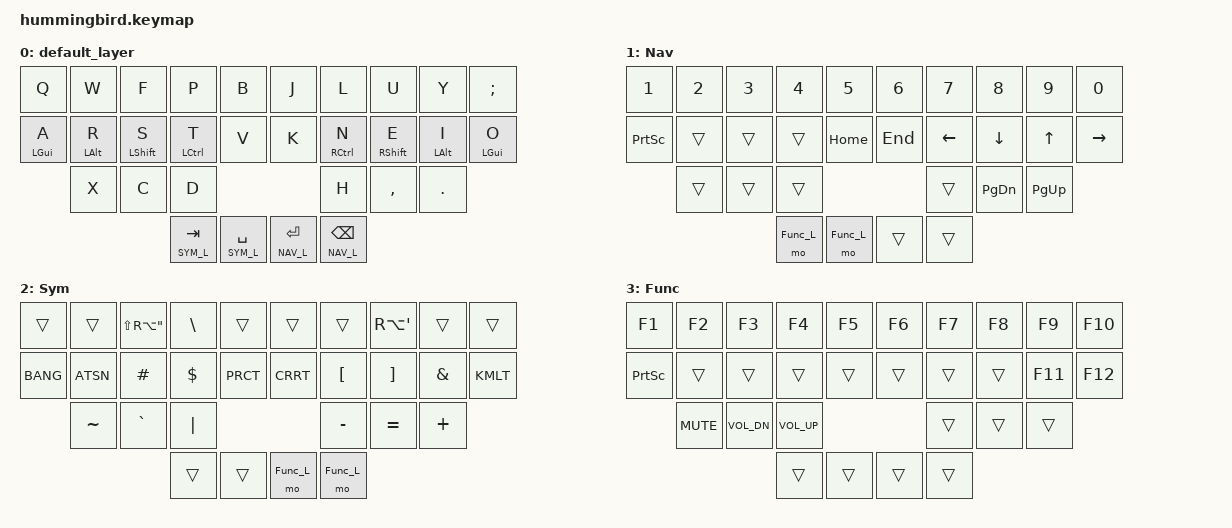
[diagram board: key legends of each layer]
/*
 * Copyright (c) 2022 The ZMK Contributors
 *
 * SPDX-License-Identifier: MIT
 */

#include <behaviors.dtsi>
#include <dt-bindings/zmk/keys.h>

#define DEF_L 0
#define NAV_L 1
#define SYM_L 2
#define Func_L 3

// Using layer taps on thumbs, having quick tap as well helps w/ repeating space/backspace
&lt { quick_tap_ms = <200>; };

/ {
    behaviors {
        hm: homerow_mods {
            compatible = "zmk,behavior-hold-tap";
            #binding-cells = <2>;
            tapping_term_ms = <225>;
            flavor = "tap-preferred";
            bindings = <&kp>, <&kp>;
        };
    };

    macros {

        ZMK_MACRO(arrow,
            wait-ms = <30>;
            tap-ms = <40>;
            bindings = <&kp MINUS &kp LS(DOT)>;
        )

        ZMK_MACRO(eql_arrow,
            wait-ms = <30>;
            tap-ms = <40>;
            bindings = <&kp EQL &kp LS(DOT)>;
        )
    };

    combos {
        compatible = "zmk,combos";
        combo_z {
            timeout-ms = <100>;
            key-positions = <0 10>;
            layers = <0>;
            bindings = <&kp Z>;
        };
        combo_g {
            timeout-ms = <100>;
            key-positions = <4 14>;
            layers = <0>;
            bindings = <&kp G>;
        };

        combo_m {
            timeout-ms = <100>;
            key-positions = <5 15>;
            layers = <0>;
            bindings = <&kp M>;
        };

        combo_slash {
            timeout-ms = <100>;
            key-positions = <9 19>;
            layers = <0>;
            bindings = <&kp SLASH>;
        };

        combo_esc {
            timeout-ms = <50>;
            key-positions = <0 1>;
            bindings = <&kp ESC>;
        };

        combo_capsword {
            timeout-ms = <50>;
            key-positions = <12 17>;
            bindings = <&caps_word>;
        };

        combo_tab {
            timeout-ms = <50>;
            key-positions = <11 12>;
            layers = <0>;
            bindings = <&kp TAB>;
        };

       combo_LPRN {
            timeout-ms = <50>;
            key-positions = <2 12>;
            layers = <0 1 2 4>;
            bindings = <&kp LPRN>;
        };

        combo_LBRC {
            timeout-ms = <50>;
            key-positions = <3 13>;
            layers = <0 1 2 4>;
            bindings = <&kp LBRC>;
        };

        combo_LBKT {
            timeout-ms = <50>;
            key-positions = <1 11>;
            layers = <0 1 2 4>;
            bindings = <&kp LBKT>;
        };

        combo_RPRN {
            timeout-ms = <50>;
            key-positions = <7 17>;
            layers = <0 1 2 4>;
            bindings = <&kp RPRN>;
        };

        combo_RBRC {
            timeout-ms = <50>;
            key-positions = <6 16>;
            layers = <0 1 2 4>;
            bindings = <&kp RBRC>;
        };

        combo_RBKT {
            timeout-ms = <50>;
            key-positions = <8 18>;
            layers = <0 1 2 4>;
            bindings = <&kp RBKT>;
        };

        combo_UNDER {
            timeout-ms = <50>;
            key-positions = <16 23>;
            layers = <0 1 2 4>;
            bindings = <&kp UNDER>;
        };

         combo_del {
            timeout-ms = <50>;
            key-positions = <8 9>;
            layers = <0 1 2 4>;
            bindings = <&kp DEL>;
        };

        combo_ae {
            timeout-ms = <50>;
            key-positions = <17 18>;
            layers = <0 1 2 4>;
            bindings = <&kp RA(Q)>;
        };

        combo_oe {
            timeout-ms = <50>;
            key-positions = <24 25>;
            layers = <0 1 2 4>;
            bindings = <&kp RA(P)>;
        };

        combo_a {
            timeout-ms = <50>;
            key-positions = <7 8>;
            layers = <0 1 2 4>;
            bindings = <&kp RA(W)>;
        };

        combo_eql_arrow {
            timeout-ms = <50>;
            key-positions = <3 4>;
            layers = <0 1 2 4>;
            bindings = <&eql_arrow>;
        };

        combo_arrow {
            timeout-ms = <50>;
            key-positions = <13 14>;
            layers = <0 1 2 4>;
            bindings = <&arrow>;
        };

        combo_bspc {
            timeout-ms = <50>;
            key-positions = <23 24>;
            bindings = <&kp BKSP>;
        };

        combo_delword {
            timeout-ms = <50>;
            key-positions = <23 25>;
            layers = <0 1 2 4>;
            bindings = <&kp LC(BKSP)>;
        };

        combo_eql {
            timeout-ms = <50>;
            key-positions = <6 7>;
            layers = <0 1 2 4>;
            bindings = <&kp EQL>;
        };

        combo_minus {
            timeout-ms = <50>;
            key-positions = <2 3>;
            layers = <0 1 2 4>;
            bindings = <&kp MINUS>;
        };

        combo_plus {
            timeout-ms = <50>;
            key-positions = <21 22>;
            layers = <0 1 2 4>;
            bindings = <&kp PLUS>;
        };
 


    };

    keymap {
        compatible = "zmk,keymap";

        default_layer {
            bindings = <
                &kp Q      &kp W      &kp F       &kp P           &kp B        &kp J            &kp L          &kp U       &kp Y      &kp SEMI
                &hm LGUI A &hm LALT R &hm LSHFT S &hm LCTRL T     &kp V        &kp K            &hm RCTRL N    &hm RSHFT E &hm LALT I &hm LGUI O
                           &kp X      &kp C       &kp D                                         &kp H          &kp COMMA  &kp DOT
                                                  &lt SYM_L TAB  &lt SYM_L SPACE       &lt NAV_L RET  &lt NAV_L BKSP
            >;
        };

        nav_layer {
            display-name = "Nav";
            bindings = <
                &kp N1     &kp N2     &kp N3      &kp N4          &kp N5        &kp N6          &kp N7         &kp N8      &kp N9    &kp N0
                &kp PSCRN  &trans     &trans      &trans          &kp HOME     &kp END          &kp LEFT       &kp DOWN    &kp UP    &kp RIGHT
                           &trans     &trans      &trans                                        &trans         &kp PG_DN  &kp PG_UP
                                                  &mo Func_L      &mo Func_L   &trans           &trans
            >;
        };

        sym_layer {
            display-name = "Sym";
            bindings = <
                &trans     &trans     &kp LS(RA(DQT))  &kp BACKSLASH &trans    &trans           &trans         &kp RA(SQT) &trans     &trans
                &kp BANG   &kp ATSN   &kp HASH    &kp DLLR        &kp PRCT     &kp CRRT         &kp LBKT       &kp RBKT    &kp AMPS   &kp KMLT
                           &kp TILDE  &kp GRAVE   &kp PIPE                                      &kp MINUS      &kp EQL     &kp PLUS
                                                  &trans          &trans       &mo Func_L       &mo Func_L
            >;
        };

        func_layer {
            display-name = "Func";
            bindings = <
                &kp F1     &kp F2     &kp F3      &kp F4          &kp F5       &kp F6           &kp F7        &kp F8     &kp F9     &kp F10
                &kp PSCRN  &trans     &trans      &trans          &trans       &trans           &trans        &trans     &kp F11    &kp F12
                           &kp K_MUTE &kp K_VOL_DN &kp K_VOL_UP                                 &trans        &trans     &trans
                                                  &trans          &trans       &trans           &trans
            >;
        };
    };
};
